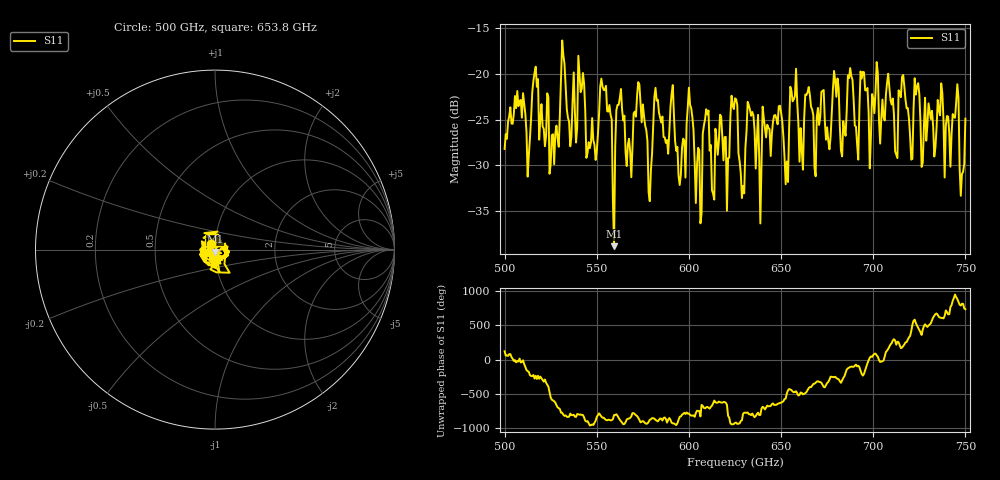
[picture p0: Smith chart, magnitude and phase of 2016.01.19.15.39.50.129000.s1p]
!Created with skrf (http://scikit-rf.org).
# GHz S RI R 50.0
!freq ReS11 ImS11
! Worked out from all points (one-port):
!   401 points, 500 GHz to 750 GHz, reference 50 ohm
!   lowest |S11| = -38.8 dB at 559.4 GHz (marker M1), VSWR 1.02, Z = 50 - j1.14 ohm
!   |S11| at or under -10 dB: start of sweep to end of sweep
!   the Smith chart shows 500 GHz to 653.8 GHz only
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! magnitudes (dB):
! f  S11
! 500 GHz  -28.2
! 513.1 GHz  -28.9
! 516.9 GHz  -19.2
! 525.6 GHz  -26.7
! 531.2 GHz  -16.3
! 535 GHz  -25.2
! 541.2 GHz  -22.0
! 545.6 GHz  -27.5
! 553.8 GHz  -21.7
! 559.4 GHz  -38.8
! 562.5 GHz  -22.7
! 590.6 GHz  -22.2
! 593.8 GHz  -28.0
! 600.6 GHz  -23.4
! 612.5 GHz  -32.7
! 625 GHz  -22.7
! 628.8 GHz  -33.6
! 633.1 GHz  -23.9
! 652.5 GHz  -32.1
! 656.2 GHz  -23.0
! 660.6 GHz  -25.9
! 680 GHz  -22.5
! 683.8 GHz  -25.2
! 687.5 GHz  -19.4
! 691.2 GHz  -27.7
! 694.4 GHz  -19.8
! 718.8 GHz  -23.7
! 750 GHz  -24.9
